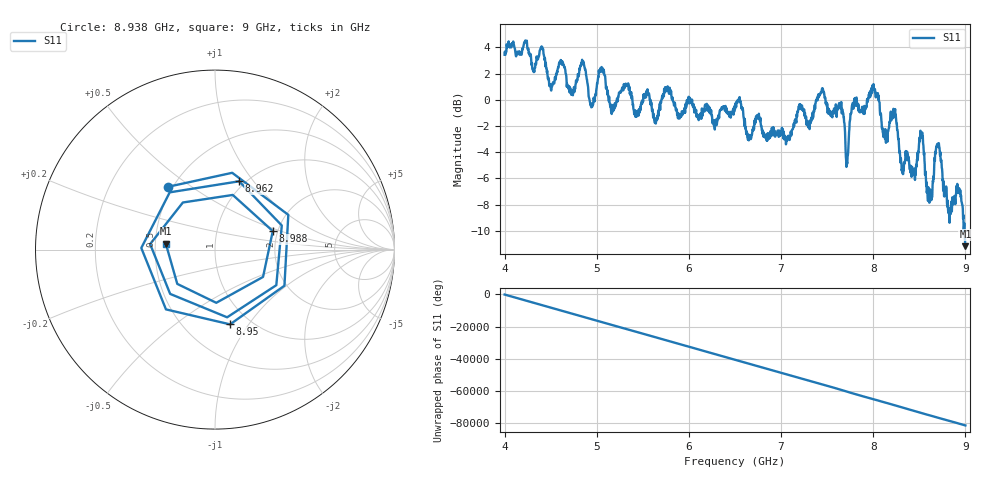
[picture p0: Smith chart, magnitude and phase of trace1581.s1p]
! Created with skrf 1.8.0 (http://scikit-rf.org).
# Hz S RI R 50.0
!freq ReS11 ImS11
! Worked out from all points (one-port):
!   1601 points, 4 GHz to 9 GHz, reference 50 ohm
!   lowest |S11| = -11.2 dB at 9 GHz (marker M1), VSWR 1.76, Z = 28.4 + j2.03 ohm
!   |S11| at or under -10 dB: 8.990146 GHz to end of sweep
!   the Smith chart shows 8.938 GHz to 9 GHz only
!   S11 on the Smith chart (normalised r, x): 8.938 GHz: 0.47, +0.41; 8.95 GHz: 0.81, -0.82; 8.962 GHz: 0.94, +0.85; 8.988 GHz: 1.88, +0.44; 9 GHz: 0.57, +0.04
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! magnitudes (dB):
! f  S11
! 4 GHz  3.4
! 4.509 GHz  0.9
! 4.625 GHz  2.9
! 4.734 GHz  0.4
! 4.856 GHz  2.8
! 4.938 GHz  -0.5
! 5.047 GHz  2.2
! 5.162 GHz  -1.1
! 5.25 GHz  0.5
! 5.875 GHz  -1.0
! 6.5 GHz  -0.7
! 6.653 GHz  -2.7
! 7.125 GHz  -2.2
! 7.444 GHz  0.8
! 7.65 GHz  -0.3
! 7.712 GHz  -4.8
! 7.75 GHz  -1.5
! 8.003 GHz  1.2
! 8.375 GHz  -4.2
! 8.522 GHz  -2.6
! 8.616 GHz  -6.8
! 8.703 GHz  -3.5
! 8.822 GHz  -8.4
! 8.938 GHz  -7.2
! 8.95 GHz  -7.4
! 8.962 GHz  -7.9
! 8.988 GHz  -9.4
! 9 GHz  -11.2
